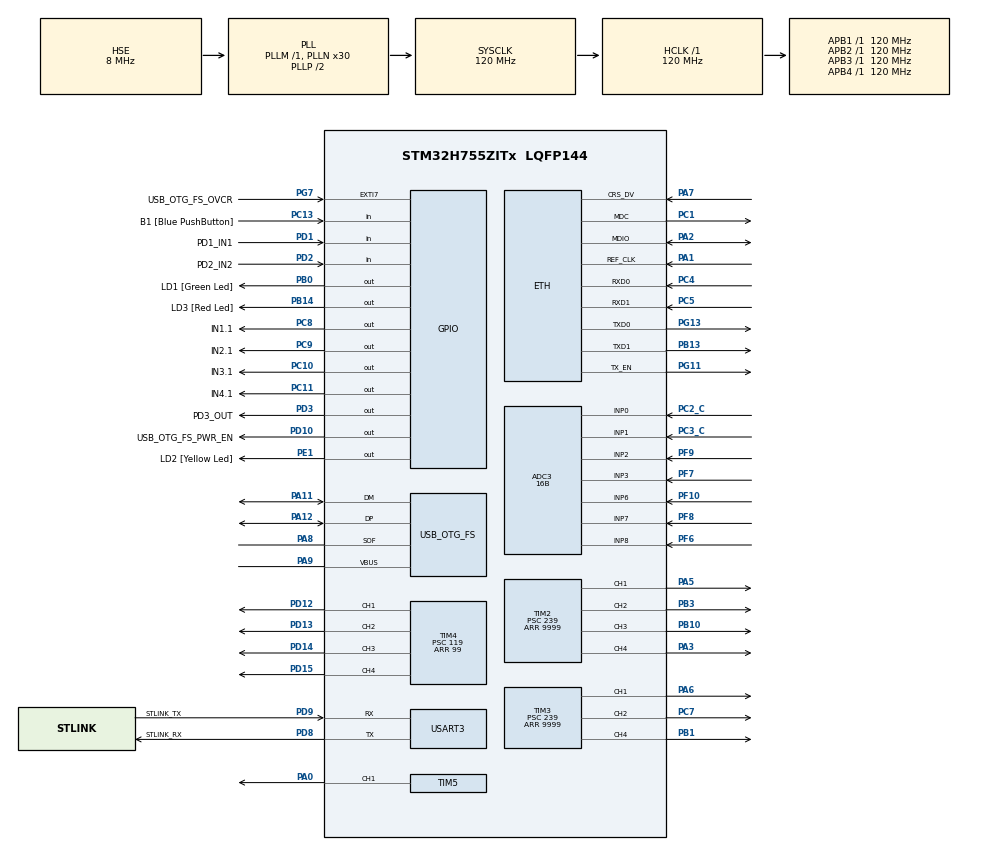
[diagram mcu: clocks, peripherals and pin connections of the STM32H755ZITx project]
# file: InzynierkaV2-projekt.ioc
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ADC3.Channel-0\#ChannelRegularConversion=ADC_CHANNEL_0
ADC3.Channel-1\#ChannelRegularConversion=ADC_CHANNEL_1
ADC3.Channel-2\#ChannelRegularConversion=ADC_CHANNEL_2
ADC3.Channel-3\#ChannelRegularConversion=ADC_CHANNEL_3
ADC3.Channel-4\#ChannelRegularConversion=ADC_CHANNEL_6
ADC3.Channel-5\#ChannelRegularConversion=ADC_CHANNEL_7
ADC3.Channel-6\#ChannelRegularConversion=ADC_CHANNEL_8
ADC3.ClockPrescalerADC3=ADC_CLOCK_ASYNC_DIV2
ADC3.ContinuousConvMode=DISABLE
ADC3.ConversionDataManagement=ADC_CONVERSIONDATA_DMA_CIRCULAR
ADC3.EOCSelection=ADC_EOC_SEQ_CONV
ADC3.ExternalTrigConv=ADC_EXTERNALTRIG_T8_TRGO
ADC3.NbrOfConversion=7
ADC3.NbrOfConversionFlag=1
ADC3.OffsetNumber-0\#ChannelRegularConversion=ADC_OFFSET_NONE
ADC3.OffsetNumber-1\#ChannelRegularConversion=ADC_OFFSET_NONE
ADC3.OffsetNumber-2\#ChannelRegularConversion=ADC_OFFSET_NONE
ADC3.OffsetNumber-3\#ChannelRegularConversion=ADC_OFFSET_NONE
ADC3.OffsetNumber-4\#ChannelRegularConversion=ADC_OFFSET_NONE
ADC3.OffsetNumber-5\#ChannelRegularConversion=ADC_OFFSET_NONE
ADC3.OffsetNumber-6\#ChannelRegularConversion=ADC_OFFSET_NONE
ADC3.OffsetSignedSaturation-0\#ChannelRegularConversion=DISABLE
ADC3.OffsetSignedSaturation-1\#ChannelRegularConversion=DISABLE
ADC3.OffsetSignedSaturation-2\#ChannelRegularConversion=DISABLE
ADC3.OffsetSignedSaturation-3\#ChannelRegularConversion=DISABLE
ADC3.OffsetSignedSaturation-4\#ChannelRegularConversion=DISABLE
ADC3.OffsetSignedSaturation-5\#ChannelRegularConversion=DISABLE
ADC3.OffsetSignedSaturation-6\#ChannelRegularConversion=DISABLE
ADC3.Rank-0\#ChannelRegularConversion=1
ADC3.Rank-1\#ChannelRegularConversion=2
ADC3.Rank-2\#ChannelRegularConversion=3
ADC3.Rank-3\#ChannelRegularConversion=4
ADC3.Rank-4\#ChannelRegularConversion=5
ADC3.Rank-5\#ChannelRegularConversion=6
ADC3.Rank-6\#ChannelRegularConversion=7
ADC3.Resolution=ADC_RESOLUTION_16B
ADC3.SamplingTime-0\#ChannelRegularConversion=ADC_SAMPLETIME_1CYCLE_5
ADC3.SamplingTime-1\#ChannelRegularConversion=ADC_SAMPLETIME_1CYCLE_5
ADC3.SamplingTime-2\#ChannelRegularConversion=ADC_SAMPLETIME_1CYCLE_5
ADC3.SamplingTime-3\#ChannelRegularConversion=ADC_SAMPLETIME_1CYCLE_5
ADC3.SamplingTime-4\#ChannelRegularConversion=ADC_SAMPLETIME_1CYCLE_5
ADC3.SamplingTime-5\#ChannelRegularConversion=ADC_SAMPLETIME_1CYCLE_5
ADC3.SamplingTime-6\#ChannelRegularConversion=ADC_SAMPLETIME_1CYCLE_5
CortexM4.IPs=FATFS_M4\:I,FREERTOS_M4\:I,IWDG2\:I,RCC,WWDG2\:I,DMA,BDMA,MDMA,NVIC2\:I,ETH,USART3,DEBUG,USB_DEVICE_M4\:I,USB_HOST_M4\:I,PDM2PCM_M4\:I,PWR,RESMGR_UTILITY,SYS_M4\:I,CORTEX_M4\:I,OPENAMP_M4\:I,VREFBUF,GPIO
CortexM7.IPs=FATFS_M7\:I,FREERTOS_M7\:I,IWDG1\:I,RCC\:I,WWDG1\:I,DMA\:I,BDMA\:I,MDMA\:I,NVIC1\:I,ETH\:I,USART3\:I,USB_OTG_FS\:I,SYS\:I,CORTEX_M7\:I,DEBUG\:I,USB_DEVICE_M7\:I,USB_HOST_M7\:I,PDM2PCM_M7\:I,PWR\:I,RESMGR_UTILITY\:I,OPENAMP_M7\:I,VREFBUF\:I,GPIO\:I,ADC3\:I,TIM8\:I,TIM3\:I,TIM7\:I,TIM4\:I,TIM6\:I,TIM2\:I,TIM5\:I
CortexM7.Pins=PB0,PB14,PD1,PD2,PD3,PE1
Dma.ADC3.0.Direction=DMA_PERIPH_TO_MEMORY
Dma.ADC3.0.EventEnable=DISABLE
Dma.ADC3.0.FIFOMode=DMA_FIFOMODE_DISABLE
Dma.ADC3.0.Instance=DMA1_Stream0
Dma.ADC3.0.MemDataAlignment=DMA_MDATAALIGN_HALFWORD
Dma.ADC3.0.MemInc=DMA_MINC_ENABLE
Dma.ADC3.0.Mode=DMA_CIRCULAR
Dma.ADC3.0.PeriphDataAlignment=DMA_PDATAALIGN_HALFWORD
Dma.ADC3.0.PeriphInc=DMA_PINC_DISABLE
Dma.ADC3.0.Polarity=HAL_DMAMUX_REQ_GEN_RISING
Dma.ADC3.0.Priority=DMA_PRIORITY_LOW
Dma.ADC3.0.RequestNumber=1
Dma.ADC3.0.SignalID=NONE
Dma.ADC3.0.SyncEnable=DISABLE
Dma.ADC3.0.SyncPolarity=HAL_DMAMUX_SYNC_NO_EVENT
Dma.ADC3.0.SyncRequestNumber=1
Dma.ADC3.0.SyncSignalID=NONE
Dma.Request0=ADC3
ETH.MediaInterface=HAL_ETH_RMII_MODE
Mcu.Family=STM32H7
Mcu.Name=STM32H755ZITx
Mcu.Package=LQFP144
NVIC1.ADC3_IRQn=true\:0\:0\:false\:false\:true\:true\:true\:true
NVIC1.DMA1_Stream0_IRQn=true\:0\:0\:false\:false\:true\:false\:true\:true
NVIC1.PriorityGroup=NVIC_PRIORITYGROUP_4
NVIC1.TIM2_IRQn=true\:0\:0\:false\:false\:true\:true\:true\:true
NVIC1.TIM3_IRQn=true\:0\:0\:false\:false\:true\:true\:true\:true
NVIC1.TIM4_IRQn=true\:0\:0\:false\:false\:true\:true\:true\:true
NVIC1.TIM6_DAC_IRQn=true\:0\:0\:false\:false\:true\:true\:true\:true
NVIC1.TIM7_IRQn=true\:0\:0\:false\:false\:true\:true\:true\:true
NVIC1.USART3_IRQn=true\:0\:0\:false\:false\:true\:true\:true\:true
NVIC2.PriorityGroup=NVIC_PRIORITYGROUP_4
PA0.PinAttribute=CortexM7
PA0.Signal=S_TIM5_CH1
PA1.Mode=RMII
PA1.PinAttribute=CortexM7
PA1.Signal=ETH_REF_CLK
PA11.Mode=Device_Only
PA11.PinAttribute=CortexM7
PA11.Signal=USB_OTG_FS_DM
PA12.Mode=Device_Only
PA12.PinAttribute=CortexM7
PA12.Signal=USB_OTG_FS_DP
PA13\ (JTMS/SWDIO).Mode=Serial_Wire
PA13\ (JTMS/SWDIO).PinAttribute=CortexM7
PA13\ (JTMS/SWDIO).Signal=DEBUG_JTMS-SWDIO
PA14\ (JTCK/SWCLK).Mode=Serial_Wire
PA14\ (JTCK/SWCLK).PinAttribute=CortexM7
PA14\ (JTCK/SWCLK).Signal=DEBUG_JTCK-SWCLK
PA2.Mode=RMII
PA2.PinAttribute=CortexM7
PA2.Signal=ETH_MDIO
PA3.PinAttribute=CortexM7
PA3.Signal=S_TIM2_CH4
PA5.PinAttribute=CortexM7
PA5.Signal=S_TIM2_CH1_ETR
PA6.PinAttribute=CortexM7
PA6.Signal=S_TIM3_CH1
PA7.Mode=RMII
PA7.PinAttribute=CortexM7
PA7.Signal=ETH_CRS_DV
PA8.Mode=Activate_SOF_FS
PA8.PinAttribute=CortexM7
PA8.Signal=USB_OTG_FS_SOF
PA9.Mode=Activate_VBUS
PA9.PinAttribute=CortexM7
PA9.Signal=USB_OTG_FS_VBUS
PB0.GPIO_Label=LD1 [Green Led]
PB0.PinAttribute=CortexM7
PB0.Signal=GPIO_Output
PB1.PinAttribute=CortexM7
PB1.Signal=S_TIM3_CH4
PB10.PinAttribute=CortexM7
PB10.Signal=S_TIM2_CH3
PB13.Mode=RMII
PB13.PinAttribute=CortexM7
PB13.Signal=ETH_TXD1
PB14.GPIO_Label=LD3 [Red Led]
PB14.PinAttribute=CortexM7
PB14.Signal=GPIO_Output
PB3\ (JTDO/TRACESWO).PinAttribute=CortexM7
PB3\ (JTDO/TRACESWO).Signal=S_TIM2_CH2
PC1.Mode=RMII
PC1.PinAttribute=CortexM7
PC1.Signal=ETH_MDC
PC10.GPIO_Label=IN3.1
PC10.PinAttribute=Free
PC10.Signal=GPIO_Output
PC11.GPIO_Label=IN4.1
PC11.PinAttribute=Free
PC11.Signal=GPIO_Output
PC13.GPIO_Label=B1 [Blue PushButton]
PC13.PinAttribute=Free
PC13.Signal=GPIO_Input
PC14-OSC32_IN\ (OSC32_IN).Mode=LSE-External-Oscillator
PC14-OSC32_IN\ (OSC32_IN).PinAttribute=CortexM7
PC14-OSC32_IN\ (OSC32_IN).Signal=RCC_OSC32_IN
PC15-OSC32_OUT\ (OSC32_OUT).Mode=LSE-External-Oscillator
PC15-OSC32_OUT\ (OSC32_OUT).PinAttribute=CortexM7
PC15-OSC32_OUT\ (OSC32_OUT).Signal=RCC_OSC32_OUT
PC2_C.Mode=IN0-Single-Ended
PC2_C.PinAttribute=CortexM7
PC2_C.Signal=ADC3_INP0
PC3_C.Mode=IN1-Single-Ended
PC3_C.PinAttribute=CortexM7
PC3_C.Signal=ADC3_INP1
PC4.Mode=RMII
PC4.PinAttribute=CortexM7
PC4.Signal=ETH_RXD0
PC5.Mode=RMII
PC5.PinAttribute=CortexM7
PC5.Signal=ETH_RXD1
PC7.PinAttribute=CortexM7
PC7.Signal=S_TIM3_CH2
PC8.GPIO_Label=IN1.1
PC8.PinAttribute=Free
PC8.Signal=GPIO_Output
PC9.GPIO_Label=IN2.1
PC9.PinAttribute=Free
PC9.Signal=GPIO_Output
PD1.GPIO_Label=PD1_IN1
PD1.GPIO_PuPd=GPIO_PULLUP
PD1.PinAttribute=CortexM7
PD1.Signal=GPIO_Input
PD10.GPIO_Label=USB_OTG_FS_PWR_EN
PD10.PinAttribute=Free
PD10.Signal=GPIO_Output
PD12.PinAttribute=CortexM7
PD12.Signal=S_TIM4_CH1
PD13.PinAttribute=CortexM7
PD13.Signal=S_TIM4_CH2
PD14.PinAttribute=CortexM7
PD14.Signal=S_TIM4_CH3
PD15.PinAttribute=CortexM7
PD15.Signal=S_TIM4_CH4
PD2.GPIO_Label=PD2_IN2
PD2.GPIO_PuPd=GPIO_PULLUP
PD2.PinAttribute=CortexM7
PD2.Signal=GPIO_Input
PD3.GPIO_Label=PD3_OUT
PD3.PinAttribute=CortexM7
PD3.Signal=GPIO_Output
PD8.GPIO_Label=STLINK_RX
PD8.Mode=Asynchronous
PD8.PinAttribute=CortexM7
PD8.Signal=USART3_TX
PD9.GPIO_Label=STLINK_TX
PD9.Mode=Asynchronous
PD9.PinAttribute=CortexM7
PD9.Signal=USART3_RX
PE1.GPIO_Label=LD2 [Yellow Led]
PE1.PinAttribute=CortexM7
PE1.Signal=GPIO_Output
PF10.Mode=IN6-Single-Ended
PF10.PinAttribute=CortexM7
PF10.Signal=ADC3_INP6
PF6.Mode=IN8-Single-Ended
PF6.PinAttribute=CortexM7
PF6.Signal=ADC3_INP8
PF7.Mode=IN3-Single-Ended
PF7.PinAttribute=CortexM7
PF7.Signal=ADC3_INP3
PF8.Mode=IN7-Single-Ended
PF8.PinAttribute=CortexM7
PF8.Signal=ADC3_INP7
PF9.Mode=IN2-Single-Ended
PF9.PinAttribute=CortexM7
PF9.Signal=ADC3_INP2
PG11.Mode=RMII
PG11.PinAttribute=CortexM7
PG11.Signal=ETH_TX_EN
PG13.Mode=RMII
PG13.PinAttribute=CortexM7
PG13.Signal=ETH_TXD0
PG7.GPIO_Label=USB_OTG_FS_OVCR
PG7.PinAttribute=Free
PG7.Signal=GPXTI7
PH0-OSC_IN\ (PH0).Mode=HSE-External-Clock-Source
PH0-OSC_IN\ (PH0).PinAttribute=CortexM7
PH0-OSC_IN\ (PH0).Signal=RCC_OSC_IN
PH1-OSC_OUT\ (PH1).PinAttribute=CortexM7
PH1-OSC_OUT\ (PH1).Signal=RCC_OSC_OUT
ProjectManager.HeapSize=M4-0x200,M7-0x200
ProjectManager.StackSize=M4-0x400,M7-0x400
ProjectManager.TargetToolchain=STM32CubeIDE
RCC.ADCCLockSelection=RCC_ADCCLKSOURCE_CLKP
RCC.ADCFreq_Value=32000000
RCC.APB1Freq_Value=120000000
RCC.APB2Freq_Value=120000000
RCC.APB3Freq_Value=120000000
RCC.APB4Freq_Value=120000000
RCC.CortexFreq_Value=120000000
RCC.DIVM1=1
RCC.DIVM2=1
RCC.DIVN1=30
RCC.DIVN2=18
RCC.DIVP2=4
RCC.DIVQ1=4
RCC.HCLKFreq_Value=120000000
RCC.HSE_VALUE=8000000
RCC.HSIDiv=RCC_PLLSAIDIVR_2
RCC.PLLFRACN=0
RCC.SYSCLKFreq_VALUE=120000000
RCC.SYSCLKSource=RCC_SYSCLKSOURCE_PLLCLK
RCC.SupplySource=PWR_DIRECT_SMPS_SUPPLY
RCC.USART234578CLockSelection=RCC_USART234578CLKSOURCE_HSI
RCC.USBFreq_Value=60000000
SH.S_TIM2_CH1_ETR.0=TIM2_CH1,PWM Generation1 CH1
SH.S_TIM2_CH2.0=TIM2_CH2,PWM Generation2 CH2
SH.S_TIM2_CH3.0=TIM2_CH3,PWM Generation3 CH3
SH.S_TIM2_CH4.0=TIM2_CH4,PWM Generation4 CH4
SH.S_TIM3_CH1.0=TIM3_CH1,PWM Generation1 CH1
SH.S_TIM3_CH2.0=TIM3_CH2,PWM Generation2 CH2
SH.S_TIM3_CH4.0=TIM3_CH4,PWM Generation4 CH4
SH.S_TIM4_CH1.0=TIM4_CH1,PWM Generation1 CH1
SH.S_TIM4_CH2.0=TIM4_CH2,PWM Generation2 CH2
SH.S_TIM4_CH3.0=TIM4_CH3,PWM Generation3 CH3
SH.S_TIM4_CH4.0=TIM4_CH4,PWM Generation4 CH4
SH.S_TIM5_CH1.0=TIM5_CH1,PWM Generation1 CH1
TIM2.Channel-PWM\ Generation1\ CH1=TIM_CHANNEL_1
TIM2.Channel-PWM\ Generation2\ CH2=TIM_CHANNEL_2
TIM2.Channel-PWM\ Generation3\ CH3=TIM_CHANNEL_3
TIM2.Channel-PWM\ Generation4\ CH4=TIM_CHANNEL_4
TIM2.Period=9999
TIM2.Prescaler=239
TIM3.AutoReloadPreload=TIM_AUTORELOAD_PRELOAD_ENABLE
TIM3.Channel-PWM\ Generation1\ CH1=TIM_CHANNEL_1
TIM3.Channel-PWM\ Generation2\ CH2=TIM_CHANNEL_2
TIM3.Channel-PWM\ Generation4\ CH4=TIM_CHANNEL_4
TIM3.CounterMode=TIM_COUNTERMODE_UP
TIM3.Period=9999
TIM3.Prescaler=239
TIM4.Channel-PWM\ Generation1\ CH1=TIM_CHANNEL_1
TIM4.Channel-PWM\ Generation2\ CH2=TIM_CHANNEL_2
TIM4.Channel-PWM\ Generation3\ CH3=TIM_CHANNEL_3
TIM4.Channel-PWM\ Generation4\ CH4=TIM_CHANNEL_4
TIM4.Period=99
TIM4.Prescaler=119
TIM5.Channel-PWM\ Generation1\ CH1=TIM_CHANNEL_1
TIM5.Period=19999
TIM5.Prescaler=11999
TIM6.Period=99
TIM6.Prescaler=11999
TIM7.Period=1
TIM7.Prescaler=63999
TIM8.Period=999
TIM8.Prescaler=11999
TIM8.TIM_MasterOutputTrigger=TIM_TRGO_UPDATE
USART3.VirtualMode-Asynchronous=VM_ASYNC
USB_OTG_FS.VirtualMode=Device_Only
VP_SYS_M4_VS_Systick.Mode=SysTick
VP_TIM2_VS_ClockSourceINT.Mode=Internal
VP_TIM3_VS_ClockSourceINT.Mode=Internal
VP_TIM4_VS_ClockSourceINT.Mode=Internal
VP_TIM5_VS_ClockSourceINT.Mode=Internal
VP_TIM6_VS_ClockSourceINT.Mode=Enable_Timer
VP_TIM7_VS_ClockSourceINT.Mode=Enable_Timer
VP_TIM8_VS_ClockSourceINT.Mode=Internal
board=NUCLEO-H755ZI-Q

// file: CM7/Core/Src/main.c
/* USER CODE BEGIN Header */
	/**
	  ******************************************************************************
	  * @file           : main.c
	  * @brief          : Main program body
	  ******************************************************************************
	  * @attention
	  *
	  * Copyright (c) 2024 STMicroelectronics.
	  * All rights reserved.
	  *
	  * This software is licensed under terms that can be found in the LICENSE file
	  * in the root directory of this software component.
	  * If no LICENSE file comes with this software, it is provided AS-IS.
	  *
	  ******************************************************************************
	  */
/* USER CODE END Header */
#include "main.h"
#include "string.h"

/* USER CODE BEGIN Includes */
	#include <stdio.h>
	#include <stdlib.h>
	#include <math.h> // Do fabs()
	#include <stdbool.h>

/* USER CODE END Includes */

/* USER CODE BEGIN PD */

	#ifndef HSEM_ID_0
	#define HSEM_ID_0 (0U) /* HW semaphore 0*/
	#endif

/* USER CODE END PD */

#if defined ( __ICCARM__ ) /*!< IAR Compiler */
#pragma location=0x30000000
ETH_DMADescTypeDef  DMARxDscrTab[ETH_RX_DESC_CNT]; /* Ethernet Rx DMA Descriptors */
#pragma location=0x30000200
ETH_DMADescTypeDef  DMATxDscrTab[ETH_TX_DESC_CNT]; /* Ethernet Tx DMA Descriptors */

#elif defined ( __CC_ARM )  /* MDK ARM Compiler */

__attribute__((at(0x30000000))) ETH_DMADescTypeDef  DMARxDscrTab[ETH_RX_DESC_CNT]; /* Ethernet Rx DMA Descriptors */
__attribute__((at(0x30000200))) ETH_DMADescTypeDef  DMATxDscrTab[ETH_TX_DESC_CNT]; /* Ethernet Tx DMA Descriptors */

#elif defined ( __GNUC__ ) /* GNU Compiler */
ETH_DMADescTypeDef DMARxDscrTab[ETH_RX_DESC_CNT] __attribute__((section(".RxDecripSection"))); /* Ethernet Rx DMA Descriptors */
ETH_DMADescTypeDef DMATxDscrTab[ETH_TX_DESC_CNT] __attribute__((section(".TxDecripSection")));   /* Ethernet Tx DMA Descriptors */

#endif

ETH_TxPacketConfig TxConfig;

ADC_HandleTypeDef hadc3;
DMA_HandleTypeDef hdma_adc3;

ETH_HandleTypeDef heth;

TIM_HandleTypeDef htim2;
TIM_HandleTypeDef htim3;
TIM_HandleTypeDef htim4;
TIM_HandleTypeDef htim5;
TIM_HandleTypeDef htim6;
TIM_HandleTypeDef htim7;
TIM_HandleTypeDef htim8;

UART_HandleTypeDef huart3;

PCD_HandleTypeDef hpcd_USB_OTG_FS;

void SystemClock_Config(void);
void PeriphCommonClock_Config(void);
static void MX_GPIO_Init(void);
static void MX_DMA_Init(void);
static void MX_ADC3_Init(void);
static void MX_USB_OTG_FS_PCD_Init(void);
static void MX_ETH_Init(void);
static void MX_USART3_UART_Init(void);
static void MX_TIM8_Init(void);
static void MX_TIM3_Init(void);
static void MX_TIM7_Init(void);
static void MX_TIM4_Init(void);
static void MX_TIM6_Init(void);
static void MX_TIM2_Init(void);
static void MX_TIM5_Init(void);

/* USER CODE BEGIN 0 */

int PLC_IN1=0;
int PLC_IN2=0;
int PLC_IN_SUM=0;

int PLC_OUT=0;

	// Parametry
	#define NUM_SAMPLES 50 // Liczba próbek do uśredniania

	// Tablica do przechowywania próbek dla każdego kanału
	float sampleBuffer[7][NUM_SAMPLES] = {0};

	// Indeksy do zarządzania buforami próbek
	int sampleCounts[7] = {0};
	// Tablica na średnie wartości kątów
	float averagedAngles[7] = {0};

	float angles[7];
	float adc_angle[7];
	volatile uint16_t rawValues[7];
	volatile int adcConversionComplete = 0;

	void HAL_ADC_ConvCpltCallback(ADC_HandleTypeDef *hadc)
	{
		if (hadc->Instance == ADC3)
		{
			// Maksymalna wartość dla 16-bitowego ADC
			const uint32_t maxAdcValue = 65536;

			for (int i = 0; i < 7; i++) // Iteracja po kanałach
			{
				float current_angle = (rawValues[i] * 180.0f) / maxAdcValue;
				angles[i]=current_angle;
				// Zaokrąglanie do jednego miejsca po przecinku
				angles[i] = round(angles[i]);
			}

			// Flaga zakończenia konwersji
			adcConversionComplete = 1;
		}
	}

	/* Tablica Servo z dodatkowymi parametrami min/max pulsu */
	typedef struct {
		TIM_HandleTypeDef *htim;     // Wskaźnik na timer
		uint8_t pwm_channel_in1;     // Kanał PWM dla IN1
		float target_angle;          // Docelowy kąt
		float min_angle;             // Minimalny kąt pracy serwa
		float max_angle;             // Maksymalny kąt pracy serwa
		uint32_t min_pulse;          // Minimalny puls dla kąta 0 stopni
		uint32_t max_pulse;          // Maksymalny puls dla kąta 180 stopni
		uint32_t ADC_MIN;          // Minimalny puls dla kąta 0 stopni
		uint32_t ADC_MAX;          // Maksymalny puls dla kąta 180 stopni
	} Servo2;

	Servo2 servos2[7] = {

		{&htim2, TIM_CHANNEL_1, 60.0f, 0.0f, 180.0f, 250, 1250, 18, 172},
		{&htim2, TIM_CHANNEL_2, 160.0f, 0.0f, 180.0f, 250, 1250, 18, 172},
		{&htim2, TIM_CHANNEL_3, 180.0f, 0.0f, 180.0f, 250, 1250, 18, 172},
		{&htim2, TIM_CHANNEL_4, 102.0f, 0.0f, 180.0f, 250, 1250, 18, 172},
		{&htim3, TIM_CHANNEL_1, 90.0f, 0.0f, 180.0f, 250, 1250, 43, 150},
		{&htim3, TIM_CHANNEL_2, 170.0f, 0.0f, 180.0f, 250, 1250, 43, 150},
		{&htim3, TIM_CHANNEL_4, 26.0f, 10.0f, 80.0f, 250, 1250, 43, 150}
	};

	void ADC_To_Angle() {
		for (int i = 0; i < 7; i++) // Iteracja po kanałach
		{
			adc_angle[i] = (angles[i] - servos2[i].ADC_MIN) * 180.0f / (servos2[i].ADC_MAX - servos2[i].ADC_MIN);
		}

	}

	void Servo_SetAngle(Servo2 *servo) {

		// Sprawdzenie, czy kąt mieści się w zakresie
		if (servo->target_angle < servo->min_angle) {
			servo->target_angle = servo->min_angle;
		} else if (servo->target_angle > servo->max_angle) {
			servo->target_angle = servo->max_angle;
		}

		// Przeliczenie kąta na wartość impulsu PWM
		// Minimalny puls odpowiada kątowi 0 stopni, maksymalny puls odpowiada kątowi 180 stopni
		uint32_t pulse_range = servo->max_pulse - servo->min_pulse; // Zakres pulsu
		uint32_t pulse = servo->min_pulse + (uint32_t)((servo->target_angle / 180.0f) * pulse_range);

		// Ustawienie wartości PWM dla wybranego kanału
		__HAL_TIM_SET_COMPARE(servo->htim, servo->pwm_channel_in1, pulse);
	}

	void AverageSamplesByTimer()
	{

		for (int i = 0; i < 7; i++) // Iteracja po kanałach
		{
			// Dodanie próbki do bufora
			sampleBuffer[i][sampleCounts[i]] = angles[i];
			sampleCounts[i]++;

			// Jeśli zgromadzono wystarczającą liczbę próbek
			if (sampleCounts[i] >= NUM_SAMPLES)
			{
				// Obliczanie średniej
				float sum = 0.0f;
				for (int j = 0; j < NUM_SAMPLES; j++)
				{
					sum += sampleBuffer[i][j];
				}
				averagedAngles[i] = round(sum / NUM_SAMPLES);

				// Resetowanie licznika próbek
				sampleCounts[i] = 0;
			}
		}
	}

void PLC_check()
{
	  if ((HAL_GPIO_ReadPin(PD1_IN1_GPIO_Port,PD1_IN1_Pin)) == GPIO_PIN_RESET )
	  {
		  PLC_IN1=1;
	  }
	  else
	  {
		  PLC_IN1=0;
	  }

	  if ((HAL_GPIO_ReadPin(PD2_IN2_GPIO_Port,PD2_IN2_Pin)) == GPIO_PIN_RESET )
	  {
		  PLC_IN2=1;
	  }
	  else
	  {
		  PLC_IN2=0;
	  }

	  if (PLC_IN1==0 && PLC_IN2==0)
	  {
		  PLC_IN_SUM=0;
	  }
	  else if (PLC_IN1==1 && PLC_IN2==0)
	  {
		  PLC_IN_SUM=1;
	  }
	  else if (PLC_IN1==0 && PLC_IN2==1)
	  {
		  PLC_IN_SUM=2;
	  }
	  else if (PLC_IN1==1 && PLC_IN2==1)
	  {
		  PLC_IN_SUM=3;
	  }
	  else
	  {
		  PLC_IN_SUM=9;
	  }

	  if(PLC_OUT == 1)
	  {
		  HAL_GPIO_WritePin(PD3_OUT_GPIO_Port,PD3_OUT_Pin, GPIO_PIN_SET);
	  }
	  else
	  {
		  HAL_GPIO_WritePin(PD3_OUT_GPIO_Port,PD3_OUT_Pin, GPIO_PIN_RESET);
	  }
}

int alarm=0;
int alarm_set=0;
int alarm_led_on=0;
int alarm_led_off=0;
int PLC_polka=0;

void ROBOT_ALARM()
{
	if (alarm == 1)
	{
		if (alarm_set == 0)
		{
			HAL_GPIO_WritePin(LD1_GPIO_Port, LD1_Pin , GPIO_PIN_SET);
			HAL_GPIO_WritePin(LD2_GPIO_Port, LD2_Pin , GPIO_PIN_SET);
			HAL_GPIO_WritePin(LD3_GPIO_Port, LD3_Pin , GPIO_PIN_SET);
			if (alarm_led_on>50)
			{
				alarm_set=1;
				alarm_led_on=0;
			}
			alarm_led_on++;
		}
		else
		{
			HAL_GPIO_WritePin(LD1_GPIO_Port, LD1_Pin , GPIO_PIN_RESET);
			HAL_GPIO_WritePin(LD2_GPIO_Port, LD2_Pin , GPIO_PIN_RESET);
			HAL_GPIO_WritePin(LD3_GPIO_Port, LD3_Pin , GPIO_PIN_RESET);

			if (alarm_led_off>50)
			{
				alarm_set=0;
				alarm_led_off=0;
			}
			alarm_led_off++;
		}

	}
}

	void HAL_TIM_PeriodElapsedCallback(TIM_HandleTypeDef *htim) {
		if (htim->Instance == TIM7) {

				for (int i = 0; i < 7; i++)
				{
					Servo_SetAngle(&servos2[i]);
				}
		}
		if (htim->Instance == TIM6)
		{
			AverageSamplesByTimer();
			ADC_To_Angle();
			PLC_check();
			ROBOT_ALARM();

		}
	}

/* Struktura pozycji */
typedef struct {
    float angles[7]; // Kąty dla 7 serwomechanizmów
} RobotPosition;

/* Funkcja do płynnego przechodzenia między kątami */
void Robot_SetPosition(Servo2 servos[], RobotPosition *current_position, RobotPosition target_position, float step) {
    for (int i = 0; i < 7; i++) {
        if (fabsf(current_position->angles[i] - target_position.angles[i]) > step) {
            // Zwiększanie lub zmniejszanie kąta w stronę docelowego
            if (current_position->angles[i] < target_position.angles[i]) {
                current_position->angles[i] += step;
            } else {
                current_position->angles[i] -= step;
            }
        } else {
            // Ustawianie dokładnego kąta, jeśli różnica jest mniejsza od kroku
            current_position->angles[i] = target_position.angles[i];
        }
        // Aktualizacja serwomechanizmu
        servos[i].target_angle = current_position->angles[i];
        Servo_SetAngle(&servos[i]);
    }
}

/* Funkcja obsługująca logikę przejścia między pozycjami */
void Robot_MoveToPosition(Servo2 servos[], RobotPosition *current_position, RobotPosition target_position, float step, uint16_t delay_ms) {
    while (1) {
        bool all_positions_reached = true;

        // Aktualizuj pozycję serwomechanizmów
        Robot_SetPosition(servos, current_position, target_position, step);

        // Sprawdzanie, czy wszystkie kąty osiągnęły docelowe wartości
        for (int i = 0; i < 7; i++) {
            if (fabsf(current_position->angles[i] - target_position.angles[i]) > step) {
                all_positions_reached = false;
                break;
            }
        }

        if (all_positions_reached) {
            break; // Wyjdź z pętli, jeśli wszystkie kąty są w docelowych pozycjach
        }

        HAL_Delay(delay_ms); // Opóźnienie dla płynności ruchu
    }
}

RobotPosition home_position = {{60.0f, 160.0f, 180.0f, 102.0f, 10.0f, 180.0f, 26.0f}};
RobotPosition pick_position_1 = {{60.0f, 160.0f, 180.0f, 102.0f, 90.0f, 170.0f, 26.0f}};
RobotPosition pick_position_2 = {{15.0f, 160.0f, 180.0f, 102.0f, 90.0f, 170.0f, 26.0f}};
RobotPosition pick_position_3 = {{15.0f, 160.0f, 180.0f, 102.0f, 150.0f, 170.0f, 26.0f}};
RobotPosition pick_position_4 = {{15.0f, 120.0f, 180.0f, 102.0f, 150.0f, 175.0f, 26.0f}};
RobotPosition pick_position_5 = {{15.0f, 110.0f, 180.0f, 102.0f, 150.0f, 175.0f, 26.0f}};
RobotPosition grip_position_1 = {{15.0f, 110.0f, 180.0f, 102.0f, 150.0f, 175.0f, 60.0f}};
RobotPosition grip_position_2 = {{15.0f, 130.0f, 180.0f, 102.0f, 150.0f, 175.0f, 60.0f}};
RobotPosition home_grip = {{60.0f, 160.0f, 180.0f, 90.0f, 120.0f, 175.0f, 60.0f}};

RobotPosition shelf1_position_1 = {{50.0f, 160.0f, 180.0f, 90.0f, 120.0f, 180.0f, 60.0f}};
RobotPosition shelf1_position_2 = {{50.0f, 138.0f, 150.0f, 90.0f, 120.0f, 180.0f, 60.0f}};
RobotPosition shelf1_position_3 = {{50.0f, 132.0f, 160.0f, 90.0f, 115.0f, 180.0f, 60.0f}};
RobotPosition shelf1_position_4 = {{50.0f, 132.0f, 160.0f, 90.0f, 115.0f, 180.0f, 26.0f}};
RobotPosition shelf1_position_5 = {{50.0f, 138.0f, 150.0f, 90.0f, 120.0f, 180.0f, 26.0f}};
RobotPosition shelf1_position_6 = {{50.0f, 160.0f, 180.0f, 90.0f, 120.0f, 180.0f, 26.0f}};
RobotPosition shelf1_position_7 = {{60.0f, 160.0f, 180.0f, 102.0f, 10.0f, 180.0f, 26.0f}};

RobotPosition shelf2_position_2 = {{60.0f, 160.0f, 170.0f, 90.0f, 90.0f, 180.0f, 60.0f}};
RobotPosition shelf2_position_3 = {{60.0f, 160.0f, 170.0f, 90.0f, 90.0f, 180.0f, 60.0f}};
RobotPosition shelf2_position = {{85.0f, 115.0f, 90.0f, 125.0f, 60.0f, 155.0f, 26.0f}};
RobotPosition shelf3_position = {{90.0f, 110.0f, 80.0f, 130.0f, 70.0f, 150.0f, 26.0f}};

/* USER CODE END 0 */

int main(void)
{
/* USER CODE BEGIN Boot_Mode_Sequence_0 */
	  int32_t timeout;
/* USER CODE END Boot_Mode_Sequence_0 */

/* USER CODE BEGIN Boot_Mode_Sequence_1 */
	  /* Wait until CPU2 boots and enters in stop mode or timeout*/

	  timeout = 0xFFFF;
	  while((__HAL_RCC_GET_FLAG(RCC_FLAG_D2CKRDY) != RESET) && (timeout-- > 0));
	  if ( timeout < 0 )
	  {
	  Error_Handler();
	  }
/* USER CODE END Boot_Mode_Sequence_1 */
  /* MCU Configuration--------------------------------------------------------*/

  /* Reset of all peripherals, Initializes the Flash interface and the Systick. */
  HAL_Init();

  /* Configure the system clock */
  SystemClock_Config();

/* Configure the peripherals common clocks */
  PeriphCommonClock_Config();
/* USER CODE BEGIN Boot_Mode_Sequence_2 */
	/* When system initialization is finished, Cortex-M7 will release Cortex-M4 by means of
	HSEM notification */
	/*HW semaphore Clock enable*/
	__HAL_RCC_HSEM_CLK_ENABLE();
	/*Take HSEM */
	HAL_HSEM_FastTake(HSEM_ID_0);
	/*Release HSEM in order to notify the CPU2(CM4)*/
	HAL_HSEM_Release(HSEM_ID_0,0);
	/* wait until CPU2 wakes up from stop mode */
	timeout = 0xFFFF;
	while((__HAL_RCC_GET_FLAG(RCC_FLAG_D2CKRDY) == RESET) && (timeout-- > 0));
	if ( timeout < 0 )
	{
	Error_Handler();
	}
/* USER CODE END Boot_Mode_Sequence_2 */

  /* Initialize all configured peripherals */
  MX_GPIO_Init();
  MX_DMA_Init();
  MX_ADC3_Init();
  MX_USB_OTG_FS_PCD_Init();
  MX_ETH_Init();
  MX_USART3_UART_Init();
  MX_TIM8_Init();
  MX_TIM3_Init();
  MX_TIM7_Init();
  MX_TIM4_Init();
  MX_TIM6_Init();
  MX_TIM2_Init();
  MX_TIM5_Init();
  /* USER CODE BEGIN 2 */

	 // HAL_ADCEx_Calibration_Start(&hadc3, ADC_CALIB_OFFSET, ADC_SINGLE_ENDED);
	  HAL_ADC_Start_DMA(&hadc3, (uint32_t*)rawValues, 7);
	  HAL_TIM_Base_Start(&htim8);
	  HAL_TIM_Base_Start_IT(&htim7);
	  HAL_TIM_Base_Start_IT(&htim6);

	  HAL_TIM_IC_Start(&htim4, TIM_CHANNEL_1);
	  HAL_TIM_IC_Start(&htim4, TIM_CHANNEL_2);
	  HAL_TIM_IC_Start(&htim4, TIM_CHANNEL_3);
	  HAL_TIM_IC_Start(&htim4, TIM_CHANNEL_4);
	  HAL_TIM_Base_Start_IT(&htim4);

	  HAL_TIM_IC_Start(&htim2, TIM_CHANNEL_1);
	  HAL_TIM_IC_Start(&htim2, TIM_CHANNEL_2);
	  HAL_TIM_IC_Start(&htim2, TIM_CHANNEL_3);
	  HAL_TIM_IC_Start(&htim2, TIM_CHANNEL_4);
	  HAL_TIM_Base_Start_IT(&htim2);

	  HAL_TIM_IC_Start(&htim3, TIM_CHANNEL_1);
	  HAL_TIM_IC_Start(&htim3, TIM_CHANNEL_2);
	  HAL_TIM_IC_Start(&htim3, TIM_CHANNEL_4);
	  HAL_TIM_Base_Start_IT(&htim3);

	  Servo_SetAngle(&servos2[0]);
	  Servo_SetAngle(&servos2[1]);
	  Servo_SetAngle(&servos2[2]);
	  Servo_SetAngle(&servos2[3]);
	  Servo_SetAngle(&servos2[4]);
	  Servo_SetAngle(&servos2[5]);
	  Servo_SetAngle(&servos2[6]);

  /* USER CODE END 2 */

  /* Infinite loop */
  /* USER CODE BEGIN WHILE */
	  while (1)
	  {
		  //Sterowanie2();

		  if (PLC_IN_SUM>0)
		  {
			  PLC_polka=PLC_IN_SUM;
			  PLC_OUT=1;
			  RobotPosition current_position = home_position;

			  Robot_MoveToPosition(servos2, &current_position, home_position, 10.0f, 50);

			  // Przejście do pozycji odbioru
			  Robot_MoveToPosition(servos2, &current_position, pick_position_1, 10.0f, 50);
			  Robot_MoveToPosition(servos2, &current_position, pick_position_2, 10.0f, 50);
			  Robot_MoveToPosition(servos2, &current_position, pick_position_3, 1.0f, 80);
			  Robot_MoveToPosition(servos2, &current_position, pick_position_4, 1.0f, 80);
			  Robot_MoveToPosition(servos2, &current_position, pick_position_5, 1.0f, 80);
			  // Przejście do pozycji chwytania
			  HAL_Delay(2000);
			  Robot_MoveToPosition(servos2, &current_position, grip_position_1, 10.0f, 100);
			  HAL_Delay(2000);
			  Robot_MoveToPosition(servos2, &current_position, grip_position_2, 10.0f, 100);
			  Robot_MoveToPosition(servos2, &current_position, home_grip, 1.0f, 50);

			  switch (PLC_polka) {
			      case 1:
			          Robot_MoveToPosition(servos2, &current_position, shelf1_position_1, 10.0f, 100);
			          Robot_MoveToPosition(servos2, &current_position, shelf1_position_2, 10.0f, 100);
			          HAL_Delay(2000);
			          Robot_MoveToPosition(servos2, &current_position, shelf1_position_3, 1.0f, 80);
			          HAL_Delay(2000);
			          Robot_MoveToPosition(servos2, &current_position, shelf1_position_4, 1.0f, 80);
			          Robot_MoveToPosition(servos2, &current_position, shelf1_position_5, 1.0f, 80);
			          Robot_MoveToPosition(servos2, &current_position, shelf1_position_6, 1.0f, 80);
			          Robot_MoveToPosition(servos2, &current_position, shelf1_position_6, 1.0f, 80);
			          Robot_MoveToPosition(servos2, &current_position, home_position, 1.0f, 80);

			          PLC_polka=0;

			          break;
			      case 2:
			          Robot_MoveToPosition(servos2, &current_position, shelf2_position, 1.0f, 10);
			          break;
			      case 3:
			          Robot_MoveToPosition(servos2, &current_position, shelf3_position, 1.0f, 10);
			          break;
			  }
		  }

    /* USER CODE END WHILE */

	  }
}

void SystemClock_Config(void)
{
  RCC_OscInitTypeDef RCC_OscInitStruct = {0};
  RCC_ClkInitTypeDef RCC_ClkInitStruct = {0};

  /** Supply configuration update enable
  */
  HAL_PWREx_ConfigSupply(PWR_DIRECT_SMPS_SUPPLY);

  /** Configure the main internal regulator output voltage
  */
  __HAL_PWR_VOLTAGESCALING_CONFIG(PWR_REGULATOR_VOLTAGE_SCALE3);

  while(!__HAL_PWR_GET_FLAG(PWR_FLAG_VOSRDY)) {}

  /** Initializes the RCC Oscillators according to the specified parameters
  * in the RCC_OscInitTypeDef structure.
  */
  RCC_OscInitStruct.OscillatorType = RCC_OSCILLATORTYPE_HSI|RCC_OSCILLATORTYPE_HSE;
  RCC_OscInitStruct.HSEState = RCC_HSE_BYPASS;
  RCC_OscInitStruct.HSIState = RCC_HSI_DIV2;
  RCC_OscInitStruct.HSICalibrationValue = RCC_HSICALIBRATION_DEFAULT;
  RCC_OscInitStruct.PLL.PLLState = RCC_PLL_ON;
  RCC_OscInitStruct.PLL.PLLSource = RCC_PLLSOURCE_HSE;
  RCC_OscInitStruct.PLL.PLLM = 1;
  RCC_OscInitStruct.PLL.PLLN = 30;
  RCC_OscInitStruct.PLL.PLLP = 2;
  RCC_OscInitStruct.PLL.PLLQ = 4;
  RCC_OscInitStruct.PLL.PLLR = 2;
  RCC_OscInitStruct.PLL.PLLRGE = RCC_PLL1VCIRANGE_3;
  RCC_OscInitStruct.PLL.PLLVCOSEL = RCC_PLL1VCOWIDE;
  RCC_OscInitStruct.PLL.PLLFRACN = 0;
  if (HAL_RCC_OscConfig(&RCC_OscInitStruct) != HAL_OK)
  {
    Error_Handler();
  }

  /** Initializes the CPU, AHB and APB buses clocks
  */
  RCC_ClkInitStruct.ClockType = RCC_CLOCKTYPE_HCLK|RCC_CLOCKTYPE_SYSCLK
                              |RCC_CLOCKTYPE_PCLK1|RCC_CLOCKTYPE_PCLK2
                              |RCC_CLOCKTYPE_D3PCLK1|RCC_CLOCKTYPE_D1PCLK1;
  RCC_ClkInitStruct.SYSCLKSource = RCC_SYSCLKSOURCE_PLLCLK;
  RCC_ClkInitStruct.SYSCLKDivider = RCC_SYSCLK_DIV1;
  RCC_ClkInitStruct.AHBCLKDivider = RCC_HCLK_DIV1;
  RCC_ClkInitStruct.APB3CLKDivider = RCC_APB3_DIV1;
  RCC_ClkInitStruct.APB1CLKDivider = RCC_APB1_DIV1;
  RCC_ClkInitStruct.APB2CLKDivider = RCC_APB2_DIV1;
  RCC_ClkInitStruct.APB4CLKDivider = RCC_APB4_DIV1;

  if (HAL_RCC_ClockConfig(&RCC_ClkInitStruct, FLASH_LATENCY_2) != HAL_OK)
  {
    Error_Handler();
  }
}

void PeriphCommonClock_Config(void)
{
  RCC_PeriphCLKInitTypeDef PeriphClkInitStruct = {0};

  /** Initializes the peripherals clock
  */
  PeriphClkInitStruct.PeriphClockSelection = RCC_PERIPHCLK_CKPER;
  PeriphClkInitStruct.CkperClockSelection = RCC_CLKPSOURCE_HSI;
  if (HAL_RCCEx_PeriphCLKConfig(&PeriphClkInitStruct) != HAL_OK)
  {
    Error_Handler();
  }
}

static void MX_ADC3_Init(void)
{

  ADC_ChannelConfTypeDef sConfig = {0};

  /** Common config
  */
  hadc3.Instance = ADC3;
  hadc3.Init.Resolution = ADC_RESOLUTION_16B;
  hadc3.Init.ScanConvMode = ADC_SCAN_ENABLE;
  hadc3.Init.EOCSelection = ADC_EOC_SEQ_CONV;
  hadc3.Init.LowPowerAutoWait = DISABLE;
  hadc3.Init.ContinuousConvMode = DISABLE;
  hadc3.Init.NbrOfConversion = 7;
  hadc3.Init.DiscontinuousConvMode = DISABLE;
  hadc3.Init.ExternalTrigConv = ADC_EXTERNALTRIG_T8_TRGO;
  hadc3.Init.ExternalTrigConvEdge = ADC_EXTERNALTRIGCONVEDGE_RISING;
  hadc3.Init.ConversionDataManagement = ADC_CONVERSIONDATA_DMA_CIRCULAR;
  hadc3.Init.Overrun = ADC_OVR_DATA_PRESERVED;
  hadc3.Init.LeftBitShift = ADC_LEFTBITSHIFT_NONE;
  hadc3.Init.OversamplingMode = DISABLE;
  if (HAL_ADC_Init(&hadc3) != HAL_OK)
  {
    Error_Handler();
  }

  /** Configure Regular Channel
  */
  sConfig.Channel = ADC_CHANNEL_0;
  sConfig.Rank = ADC_REGULAR_RANK_1;
  sConfig.SamplingTime = ADC_SAMPLETIME_1CYCLE_5;
  sConfig.SingleDiff = ADC_SINGLE_ENDED;
  sConfig.OffsetNumber = ADC_OFFSET_NONE;
  sConfig.Offset = 0;
  sConfig.OffsetSignedSaturation = DISABLE;
  if (HAL_ADC_ConfigChannel(&hadc3, &sConfig) != HAL_OK)
  {
    Error_Handler();
  }

  /** Configure Regular Channel
  */
  sConfig.Channel = ADC_CHANNEL_1;
  sConfig.Rank = ADC_REGULAR_RANK_2;
  if (HAL_ADC_ConfigChannel(&hadc3, &sConfig) != HAL_OK)
  {
    Error_Handler();
  }

  /** Configure Regular Channel
  */
  sConfig.Channel = ADC_CHANNEL_2;
  sConfig.Rank = ADC_REGULAR_RANK_3;
  if (HAL_ADC_ConfigChannel(&hadc3, &sConfig) != HAL_OK)
  {
    Error_Handler();
  }

  /** Configure Regular Channel
  */
  sConfig.Channel = ADC_CHANNEL_3;
  sConfig.Rank = ADC_REGULAR_RANK_4;
  if (HAL_ADC_ConfigChannel(&hadc3, &sConfig) != HAL_OK)
  {
    Error_Handler();
  }

  /** Configure Regular Channel
  */
  sConfig.Channel = ADC_CHANNEL_6;
  sConfig.Rank = ADC_REGULAR_RANK_5;
  if (HAL_ADC_ConfigChannel(&hadc3, &sConfig) != HAL_OK)
  {
    Error_Handler();
  }

  /** Configure Regular Channel
  */
  sConfig.Channel = ADC_CHANNEL_7;
  sConfig.Rank = ADC_REGULAR_RANK_6;
  if (HAL_ADC_ConfigChannel(&hadc3, &sConfig) != HAL_OK)
  {
    Error_Handler();
  }

  /** Configure Regular Channel
  */
  sConfig.Channel = ADC_CHANNEL_8;
  sConfig.Rank = ADC_REGULAR_RANK_7;
  if (HAL_ADC_ConfigChannel(&hadc3, &sConfig) != HAL_OK)
  {
    Error_Handler();
  }

}

static void MX_ETH_Init(void)
{

   static uint8_t MACAddr[6];

  heth.Instance = ETH;
  MACAddr[0] = 0x00;
  MACAddr[1] = 0x80;
  MACAddr[2] = 0xE1;
  MACAddr[3] = 0x00;
  MACAddr[4] = 0x00;
  MACAddr[5] = 0x00;
  heth.Init.MACAddr = &MACAddr[0];
  heth.Init.MediaInterface = HAL_ETH_RMII_MODE;
  heth.Init.TxDesc = DMATxDscrTab;
  heth.Init.RxDesc = DMARxDscrTab;
  heth.Init.RxBuffLen = 1524;

  if (HAL_ETH_Init(&heth) != HAL_OK)
  {
    Error_Handler();
  }

  memset(&TxConfig, 0 , sizeof(ETH_TxPacketConfig));
  TxConfig.Attributes = ETH_TX_PACKETS_FEATURES_CSUM | ETH_TX_PACKETS_FEATURES_CRCPAD;
  TxConfig.ChecksumCtrl = ETH_CHECKSUM_IPHDR_PAYLOAD_INSERT_PHDR_CALC;
  TxConfig.CRCPadCtrl = ETH_CRC_PAD_INSERT;

}

static void MX_TIM2_Init(void)
{

  TIM_ClockConfigTypeDef sClockSourceConfig = {0};
  TIM_MasterConfigTypeDef sMasterConfig = {0};
  TIM_OC_InitTypeDef sConfigOC = {0};

  htim2.Instance = TIM2;
  htim2.Init.Prescaler = 239;
  htim2.Init.CounterMode = TIM_COUNTERMODE_UP;
  htim2.Init.Period = 9999;
  htim2.Init.ClockDivision = TIM_CLOCKDIVISION_DIV1;
  htim2.Init.AutoReloadPreload = TIM_AUTORELOAD_PRELOAD_DISABLE;
  if (HAL_TIM_Base_Init(&htim2) != HAL_OK)
  {
    Error_Handler();
  }
  sClockSourceConfig.ClockSource = TIM_CLOCKSOURCE_INTERNAL;
  if (HAL_TIM_ConfigClockSource(&htim2, &sClockSourceConfig) != HAL_OK)
  {
    Error_Handler();
  }
  if (HAL_TIM_PWM_Init(&htim2) != HAL_OK)
  {
    Error_Handler();
  }
  sMasterConfig.MasterOutputTrigger = TIM_TRGO_RESET;
  sMasterConfig.MasterSlaveMode = TIM_MASTERSLAVEMODE_DISABLE;
  if (HAL_TIMEx_MasterConfigSynchronization(&htim2, &sMasterConfig) != HAL_OK)
  {
    Error_Handler();
  }
  sConfigOC.OCMode = TIM_OCMODE_PWM1;
  sConfigOC.Pulse = 0;
  sConfigOC.OCPolarity = TIM_OCPOLARITY_HIGH;
  sConfigOC.OCFastMode = TIM_OCFAST_DISABLE;
  if (HAL_TIM_PWM_ConfigChannel(&htim2, &sConfigOC, TIM_CHANNEL_1) != HAL_OK)
  {
    Error_Handler();
  }
  if (HAL_TIM_PWM_ConfigChannel(&htim2, &sConfigOC, TIM_CHANNEL_2) != HAL_OK)
  {
    Error_Handler();
  }
  if (HAL_TIM_PWM_ConfigChannel(&htim2, &sConfigOC, TIM_CHANNEL_3) != HAL_OK)
  {
    Error_Handler();
  }
  if (HAL_TIM_PWM_ConfigChannel(&htim2, &sConfigOC, TIM_CHANNEL_4) != HAL_OK)
  {
    Error_Handler();
  }
  HAL_TIM_MspPostInit(&htim2);

}

static void MX_TIM3_Init(void)
{

  TIM_ClockConfigTypeDef sClockSourceConfig = {0};
  TIM_MasterConfigTypeDef sMasterConfig = {0};
  TIM_OC_InitTypeDef sConfigOC = {0};

  htim3.Instance = TIM3;
  htim3.Init.Prescaler = 239;
  htim3.Init.CounterMode = TIM_COUNTERMODE_UP;
  htim3.Init.Period = 9999;
  htim3.Init.ClockDivision = TIM_CLOCKDIVISION_DIV1;
  htim3.Init.AutoReloadPreload = TIM_AUTORELOAD_PRELOAD_ENABLE;
  if (HAL_TIM_Base_Init(&htim3) != HAL_OK)
  {
    Error_Handler();
  }
  sClockSourceConfig.ClockSource = TIM_CLOCKSOURCE_INTERNAL;
  if (HAL_TIM_ConfigClockSource(&htim3, &sClockSourceConfig) != HAL_OK)
  {
    Error_Handler();
  }
  if (HAL_TIM_PWM_Init(&htim3) != HAL_OK)
  {
    Error_Handler();
  }
  sMasterConfig.MasterOutputTrigger = TIM_TRGO_RESET;
  sMasterConfig.MasterSlaveMode = TIM_MASTERSLAVEMODE_DISABLE;
  if (HAL_TIMEx_MasterConfigSynchronization(&htim3, &sMasterConfig) != HAL_OK)
  {
    Error_Handler();
  }
  sConfigOC.OCMode = TIM_OCMODE_PWM1;
  sConfigOC.Pulse = 0;
  sConfigOC.OCPolarity = TIM_OCPOLARITY_HIGH;
  sConfigOC.OCFastMode = TIM_OCFAST_DISABLE;
  if (HAL_TIM_PWM_ConfigChannel(&htim3, &sConfigOC, TIM_CHANNEL_1) != HAL_OK)
  {
    Error_Handler();
  }
  if (HAL_TIM_PWM_ConfigChannel(&htim3, &sConfigOC, TIM_CHANNEL_2) != HAL_OK)
  {
    Error_Handler();
  }
  if (HAL_TIM_PWM_ConfigChannel(&htim3, &sConfigOC, TIM_CHANNEL_4) != HAL_OK)
  {
    Error_Handler();
  }
  HAL_TIM_MspPostInit(&htim3);

}

static void MX_TIM4_Init(void)
{

  TIM_ClockConfigTypeDef sClockSourceConfig = {0};
  TIM_MasterConfigTypeDef sMasterConfig = {0};
  TIM_OC_InitTypeDef sConfigOC = {0};

  htim4.Instance = TIM4;
  htim4.Init.Prescaler = 119;
  htim4.Init.CounterMode = TIM_COUNTERMODE_UP;
  htim4.Init.Period = 99;
  htim4.Init.ClockDivision = TIM_CLOCKDIVISION_DIV1;
  htim4.Init.AutoReloadPreload = TIM_AUTORELOAD_PRELOAD_DISABLE;
  if (HAL_TIM_Base_Init(&htim4) != HAL_OK)
  {
    Error_Handler();
  }
  sClockSourceConfig.ClockSource = TIM_CLOCKSOURCE_INTERNAL;
  if (HAL_TIM_ConfigClockSource(&htim4, &sClockSourceConfig) != HAL_OK)
  {
    Error_Handler();
  }
  if (HAL_TIM_PWM_Init(&htim4) != HAL_OK)
  {
    Error_Handler();
  }
  sMasterConfig.MasterOutputTrigger = TIM_TRGO_RESET;
  sMasterConfig.MasterSlaveMode = TIM_MASTERSLAVEMODE_DISABLE;
  if (HAL_TIMEx_MasterConfigSynchronization(&htim4, &sMasterConfig) != HAL_OK)
  {
    Error_Handler();
  }
  sConfigOC.OCMode = TIM_OCMODE_PWM1;
  sConfigOC.Pulse = 0;
  sConfigOC.OCPolarity = TIM_OCPOLARITY_HIGH;
  sConfigOC.OCFastMode = TIM_OCFAST_DISABLE;
  if (HAL_TIM_PWM_ConfigChannel(&htim4, &sConfigOC, TIM_CHANNEL_1) != HAL_OK)
  {
    Error_Handler();
  }
  if (HAL_TIM_PWM_ConfigChannel(&htim4, &sConfigOC, TIM_CHANNEL_2) != HAL_OK)
  {
    Error_Handler();
  }
  if (HAL_TIM_PWM_ConfigChannel(&htim4, &sConfigOC, TIM_CHANNEL_3) != HAL_OK)
  {
    Error_Handler();
  }
  if (HAL_TIM_PWM_ConfigChannel(&htim4, &sConfigOC, TIM_CHANNEL_4) != HAL_OK)
  {
    Error_Handler();
  }
  HAL_TIM_MspPostInit(&htim4);

}

static void MX_TIM5_Init(void)
{

  TIM_ClockConfigTypeDef sClockSourceConfig = {0};
  TIM_MasterConfigTypeDef sMasterConfig = {0};
  TIM_OC_InitTypeDef sConfigOC = {0};

  htim5.Instance = TIM5;
  htim5.Init.Prescaler = 11999;
  htim5.Init.CounterMode = TIM_COUNTERMODE_UP;
  htim5.Init.Period = 19999;
  htim5.Init.ClockDivision = TIM_CLOCKDIVISION_DIV1;
  htim5.Init.AutoReloadPreload = TIM_AUTORELOAD_PRELOAD_DISABLE;
  if (HAL_TIM_Base_Init(&htim5) != HAL_OK)
  {
    Error_Handler();
  }
  sClockSourceConfig.ClockSource = TIM_CLOCKSOURCE_INTERNAL;
  if (HAL_TIM_ConfigClockSource(&htim5, &sClockSourceConfig) != HAL_OK)
  {
    Error_Handler();
  }
  if (HAL_TIM_PWM_Init(&htim5) != HAL_OK)
  {
    Error_Handler();
  }
  sMasterConfig.MasterOutputTrigger = TIM_TRGO_RESET;
  sMasterConfig.MasterSlaveMode = TIM_MASTERSLAVEMODE_DISABLE;
  if (HAL_TIMEx_MasterConfigSynchronization(&htim5, &sMasterConfig) != HAL_OK)
  {
    Error_Handler();
  }
  sConfigOC.OCMode = TIM_OCMODE_PWM1;
  sConfigOC.Pulse = 0;
  sConfigOC.OCPolarity = TIM_OCPOLARITY_HIGH;
  sConfigOC.OCFastMode = TIM_OCFAST_DISABLE;
  if (HAL_TIM_PWM_ConfigChannel(&htim5, &sConfigOC, TIM_CHANNEL_1) != HAL_OK)
  {
    Error_Handler();
  }
  HAL_TIM_MspPostInit(&htim5);

}

static void MX_TIM6_Init(void)
{

  TIM_MasterConfigTypeDef sMasterConfig = {0};

  htim6.Instance = TIM6;
  htim6.Init.Prescaler = 11999;
  htim6.Init.CounterMode = TIM_COUNTERMODE_UP;
  htim6.Init.Period = 99;
  htim6.Init.AutoReloadPreload = TIM_AUTORELOAD_PRELOAD_DISABLE;
  if (HAL_TIM_Base_Init(&htim6) != HAL_OK)
  {
    Error_Handler();
  }
  sMasterConfig.MasterOutputTrigger = TIM_TRGO_RESET;
  sMasterConfig.MasterSlaveMode = TIM_MASTERSLAVEMODE_DISABLE;
  if (HAL_TIMEx_MasterConfigSynchronization(&htim6, &sMasterConfig) != HAL_OK)
  {
    Error_Handler();
  }

}

static void MX_TIM7_Init(void)
{

  TIM_MasterConfigTypeDef sMasterConfig = {0};

  htim7.Instance = TIM7;
  htim7.Init.Prescaler = 63999;
  htim7.Init.CounterMode = TIM_COUNTERMODE_UP;
  htim7.Init.Period = 1;
  htim7.Init.AutoReloadPreload = TIM_AUTORELOAD_PRELOAD_DISABLE;
  if (HAL_TIM_Base_Init(&htim7) != HAL_OK)
  {
    Error_Handler();
  }
  sMasterConfig.MasterOutputTrigger = TIM_TRGO_RESET;
  sMasterConfig.MasterSlaveMode = TIM_MASTERSLAVEMODE_DISABLE;
  if (HAL_TIMEx_MasterConfigSynchronization(&htim7, &sMasterConfig) != HAL_OK)
  {
    Error_Handler();
  }

}

static void MX_TIM8_Init(void)
{

  TIM_ClockConfigTypeDef sClockSourceConfig = {0};
  TIM_MasterConfigTypeDef sMasterConfig = {0};

  htim8.Instance = TIM8;
  htim8.Init.Prescaler = 11999;
  htim8.Init.CounterMode = TIM_COUNTERMODE_UP;
  htim8.Init.Period = 999;
  htim8.Init.ClockDivision = TIM_CLOCKDIVISION_DIV1;
  htim8.Init.RepetitionCounter = 0;
  htim8.Init.AutoReloadPreload = TIM_AUTORELOAD_PRELOAD_DISABLE;
  if (HAL_TIM_Base_Init(&htim8) != HAL_OK)
  {
    Error_Handler();
  }
  sClockSourceConfig.ClockSource = TIM_CLOCKSOURCE_INTERNAL;
  if (HAL_TIM_ConfigClockSource(&htim8, &sClockSourceConfig) != HAL_OK)
  {
    Error_Handler();
  }
  sMasterConfig.MasterOutputTrigger = TIM_TRGO_UPDATE;
  sMasterConfig.MasterOutputTrigger2 = TIM_TRGO2_RESET;
  sMasterConfig.MasterSlaveMode = TIM_MASTERSLAVEMODE_DISABLE;
  if (HAL_TIMEx_MasterConfigSynchronization(&htim8, &sMasterConfig) != HAL_OK)
  {
    Error_Handler();
  }

}

static void MX_USART3_UART_Init(void)
{

  huart3.Instance = USART3;
  huart3.Init.BaudRate = 115200;
  huart3.Init.WordLength = UART_WORDLENGTH_8B;
  huart3.Init.StopBits = UART_STOPBITS_1;
  huart3.Init.Parity = UART_PARITY_NONE;
  huart3.Init.Mode = UART_MODE_TX_RX;
  huart3.Init.HwFlowCtl = UART_HWCONTROL_NONE;
  huart3.Init.OverSampling = UART_OVERSAMPLING_16;
  huart3.Init.OneBitSampling = UART_ONE_BIT_SAMPLE_DISABLE;
  huart3.Init.ClockPrescaler = UART_PRESCALER_DIV1;
  huart3.AdvancedInit.AdvFeatureInit = UART_ADVFEATURE_NO_INIT;
  if (HAL_UART_Init(&huart3) != HAL_OK)
  {
    Error_Handler();
  }
  if (HAL_UARTEx_SetTxFifoThreshold(&huart3, UART_TXFIFO_THRESHOLD_1_8) != HAL_OK)
  {
    Error_Handler();
  }
  if (HAL_UARTEx_SetRxFifoThreshold(&huart3, UART_RXFIFO_THRESHOLD_1_8) != HAL_OK)
  {
    Error_Handler();
  }
  if (HAL_UARTEx_DisableFifoMode(&huart3) != HAL_OK)
  {
    Error_Handler();
  }

}

static void MX_USB_OTG_FS_PCD_Init(void)
{

  hpcd_USB_OTG_FS.Instance = USB_OTG_FS;
  hpcd_USB_OTG_FS.Init.dev_endpoints = 9;
  hpcd_USB_OTG_FS.Init.speed = PCD_SPEED_FULL;
  hpcd_USB_OTG_FS.Init.dma_enable = DISABLE;
  hpcd_USB_OTG_FS.Init.phy_itface = PCD_PHY_EMBEDDED;
  hpcd_USB_OTG_FS.Init.Sof_enable = DISABLE;
  hpcd_USB_OTG_FS.Init.low_power_enable = DISABLE;
  hpcd_USB_OTG_FS.Init.lpm_enable = DISABLE;
  hpcd_USB_OTG_FS.Init.battery_charging_enable = ENABLE;
  hpcd_USB_OTG_FS.Init.vbus_sensing_enable = ENABLE;
  hpcd_USB_OTG_FS.Init.use_dedicated_ep1 = DISABLE;
  if (HAL_PCD_Init(&hpcd_USB_OTG_FS) != HAL_OK)
  {
    Error_Handler();
  }

}

static void MX_DMA_Init(void)
{

  /* DMA controller clock enable */
  __HAL_RCC_DMA1_CLK_ENABLE();

  /* DMA interrupt init */
  /* DMA1_Stream0_IRQn interrupt configuration */
  HAL_NVIC_SetPriority(DMA1_Stream0_IRQn, 0, 0);
  HAL_NVIC_EnableIRQ(DMA1_Stream0_IRQn);

}

static void MX_GPIO_Init(void)
{
  GPIO_InitTypeDef GPIO_InitStruct = {0};

  /* GPIO Ports Clock Enable */
  __HAL_RCC_GPIOC_CLK_ENABLE();
  __HAL_RCC_GPIOF_CLK_ENABLE();
  __HAL_RCC_GPIOH_CLK_ENABLE();
  __HAL_RCC_GPIOA_CLK_ENABLE();
  __HAL_RCC_GPIOB_CLK_ENABLE();
  __HAL_RCC_GPIOD_CLK_ENABLE();
  __HAL_RCC_GPIOG_CLK_ENABLE();
  __HAL_RCC_GPIOE_CLK_ENABLE();

  /*Configure GPIO pin Output Level */
  HAL_GPIO_WritePin(GPIOB, LD1_Pin|LD3_Pin, GPIO_PIN_RESET);

  /*Configure GPIO pin Output Level */
  HAL_GPIO_WritePin(PD3_OUT_GPIO_Port, PD3_OUT_Pin, GPIO_PIN_RESET);

  /*Configure GPIO pin Output Level */
  HAL_GPIO_WritePin(LD2_GPIO_Port, LD2_Pin, GPIO_PIN_RESET);

  /*Configure GPIO pins : LD1_Pin LD3_Pin */
  GPIO_InitStruct.Pin = LD1_Pin|LD3_Pin;
  GPIO_InitStruct.Mode = GPIO_MODE_OUTPUT_PP;
  GPIO_InitStruct.Pull = GPIO_NOPULL;
  GPIO_InitStruct.Speed = GPIO_SPEED_FREQ_LOW;
  HAL_GPIO_Init(GPIOB, &GPIO_InitStruct);

  /*Configure GPIO pins : PD1_IN1_Pin PD2_IN2_Pin */
  GPIO_InitStruct.Pin = PD1_IN1_Pin|PD2_IN2_Pin;
  GPIO_InitStruct.Mode = GPIO_MODE_INPUT;
  GPIO_InitStruct.Pull = GPIO_PULLUP;
  HAL_GPIO_Init(GPIOD, &GPIO_InitStruct);

  /*Configure GPIO pin : PD3_OUT_Pin */
  GPIO_InitStruct.Pin = PD3_OUT_Pin;
  GPIO_InitStruct.Mode = GPIO_MODE_OUTPUT_PP;
  GPIO_InitStruct.Pull = GPIO_NOPULL;
  GPIO_InitStruct.Speed = GPIO_SPEED_FREQ_LOW;
  HAL_GPIO_Init(PD3_OUT_GPIO_Port, &GPIO_InitStruct);

  /*Configure GPIO pin : LD2_Pin */
  GPIO_InitStruct.Pin = LD2_Pin;
  GPIO_InitStruct.Mode = GPIO_MODE_OUTPUT_PP;
  GPIO_InitStruct.Pull = GPIO_NOPULL;
  GPIO_InitStruct.Speed = GPIO_SPEED_FREQ_LOW;
  HAL_GPIO_Init(LD2_GPIO_Port, &GPIO_InitStruct);

}

void Error_Handler(void)
{
	  __disable_irq();
	  while (1)
	  {
	  }
}
